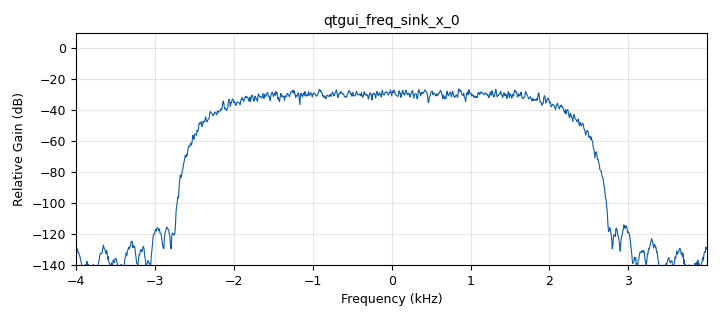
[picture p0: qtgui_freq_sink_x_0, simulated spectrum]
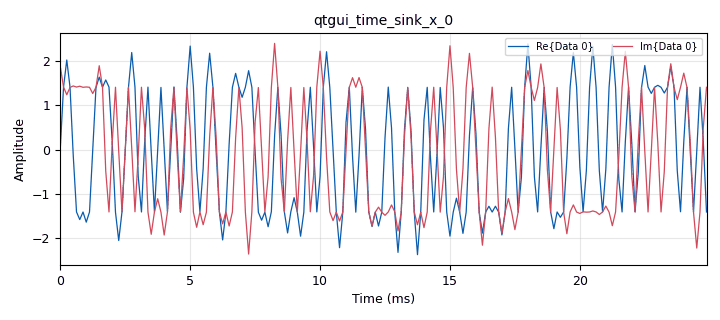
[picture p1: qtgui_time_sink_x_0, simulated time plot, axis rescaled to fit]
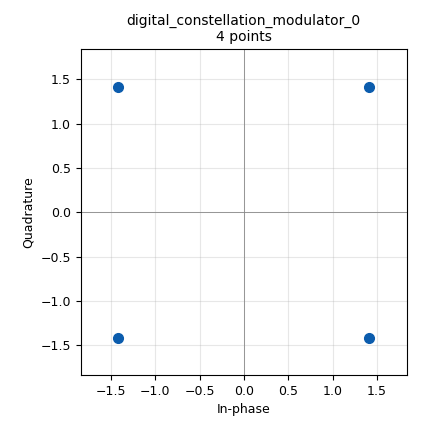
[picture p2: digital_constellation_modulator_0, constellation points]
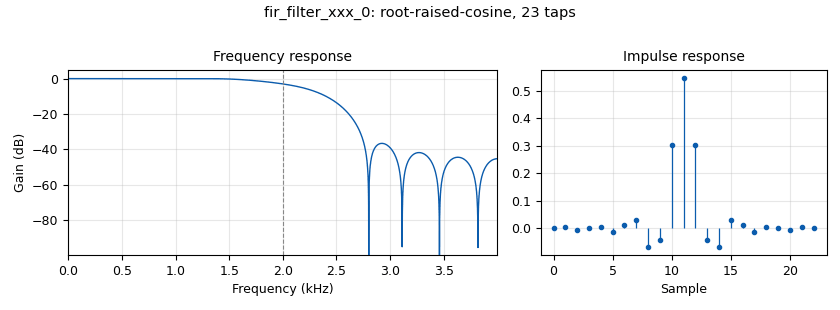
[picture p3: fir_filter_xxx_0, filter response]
options:
  parameters:
    author: Rosa
    copyright: Apache 2
    generate_options: qt_gui
    id: transmitter
    output_language: python
    title: Transmitter-QPSK-8kHz
  states: {}

blocks:
- name: carrier_freq
  id: variable
  parameters:
    value: '2000'
  states: {}
- name: rrc_taps
  id: variable_rrc_filter_taps
  parameters:
    alpha: '0.35'
    gain: '1.0'
    ntaps: 11*sps
    samp_rate: samp_rate
    sym_rate: samp_rate/sps
  states: {}
- name: samp_rate
  id: variable
  parameters:
    value: '8000'
  states: {}
- name: sps
  id: variable
  parameters:
    value: '2'
  states: {}
- name: variable_constellation_0
  id: variable_constellation
  parameters:
    const_points: '[(-3-3j), (-1-3j), (1-3j), (3-3j), (-3-1j), (-1-1j), (1-1j), (3-1j), (-3+1j), (-1+1j), (1+1j), (3+1j), (-3+3j), (-1+3j), (1+3j), (3+3j)]'
    precision: '8'
    sym_map: '[0, 4, 12, 8, 1, 5, 13, 9, 3, 7, 15, 11, 2, 6, 14, 10]'
    type: qpsk
  states: {}
- name: analog_random_source_x_0
  id: analog_random_source_x
  parameters:
    max: '256'
    min: '0'
    num_samps: '1000'
    repeat: 'True'
    type: byte
  states: {}
- name: blocks_throttle_0
  id: blocks_throttle
  parameters:
    samples_per_second: samp_rate
    type: complex
  states: {}
- name: blocks_vector_source_x_0
  id: blocks_vector_source_x
  parameters:
    repeat: 'True'
    type: float
    vector: (0,0,0,1,1,1,0,0,0)
  states: {state: disabled}
- name: digital_constellation_modulator_0
  id: digital_constellation_modulator
  parameters:
    constellation: variable_constellation_0
    differential: 'True'
    excess_bw: '0.35'
    samples_per_symbol: sps
  states: {}
- name: fir_filter_xxx_0
  id: fir_filter_xxx
  parameters:
    decim: '1'
    taps: rrc_taps
    type: ccc
  states: {}
- name: qtgui_freq_sink_x_0
  id: qtgui_freq_sink_x
  parameters:
    average: '0.05'
    bw: samp_rate
    fc: '0'
    fftsize: '1024'
    type: complex
    wintype: firdes.WIN_BLACKMAN_hARRIS
  states: {}
- name: qtgui_time_sink_x_0
  id: qtgui_time_sink_x
  parameters:
    size: '200'
    srate: samp_rate
    type: complex
  states: {}

connections:
- [analog_random_source_x_0, '0', digital_constellation_modulator_0, '0']
- [blocks_throttle_0, '0', fir_filter_xxx_0, '0']
- [digital_constellation_modulator_0, '0', blocks_throttle_0, '0']
- [fir_filter_xxx_0, '0', qtgui_freq_sink_x_0, '0']
- [fir_filter_xxx_0, '0', qtgui_time_sink_x_0, '0']

metadata:
  file_format: 1
